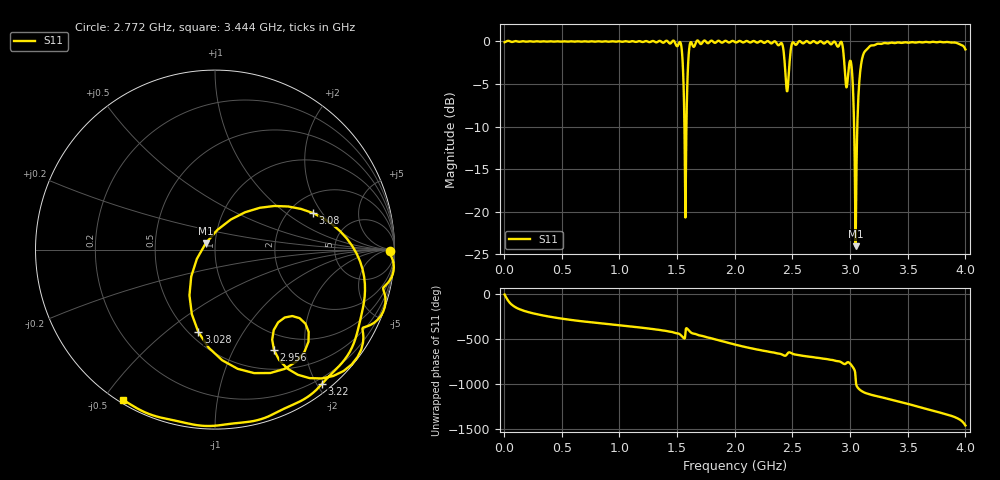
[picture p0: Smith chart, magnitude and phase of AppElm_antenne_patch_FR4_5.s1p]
! TOUCHSTONE file generated by CST MICROWAVE STUDIO
! Date and time: Tue Jun  7 21:11:33 2022
! Project name: AppElm_antenne_patch_FR4.cst
! Parameters = {L=45; W=58.5; e=0.035; h=1.6; lambda=0.190476; ls=120; w0=1.6; w1=0.533333; ws=114; y0=20; y1=23.81}
! Header version: 2018
! Port assignment regex: !\s*Touchstone port\s*([0-9]+)\s*=\s*(CST MWS port|CST DS port)\s*([0-9]+|Zmin|Zmax)\s*\(\"(.*)\"\)(\s*mode\s*([0-9]+))?.*
! Touchstone port assignment:
! Touchstone port 1 = CST MWS port 1 ("")
# GHz S MA R 50
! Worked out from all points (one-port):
!   1000 points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, 4 MHz to 4 GHz, reference 50 ohm
!   lowest |S11| = -24.1 dB at 3.048 GHz (marker M1), VSWR 1.13, Z = 45 + j3.26 ohm
!   |S11| at or under -10 dB: 1.564 GHz to 1.581 GHz (17.29 MHz wide, 1.1 % of centre); 3.035 GHz to 3.063 GHz (27.88 MHz wide, 0.915 % of centre)
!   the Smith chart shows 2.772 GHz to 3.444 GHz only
!   S11 on the Smith chart (normalised r, x): 2.772 GHz: 64, -24; 2.956 GHz: 0.76, -1.47; 3.028 GHz: 0.56, -0.65; 3.08 GHz: 2.65, +1.64; 3.22 GHz: 0.11, -2.06; 3.444 GHz: 0.01, -0.56
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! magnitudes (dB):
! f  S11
! 4 MHz  -0.1
! 504 MHz  0.0
! 1.004 GHz  0.0
! 1.504 GHz  -0.5
! 1.536 GHz  -0.5
! 1.56 GHz  -7.3
! 1.572 GHz  -20.7
! 1.588 GHz  -5.3
! 1.604 GHz  -1.0
! 1.62 GHz  -0.1
! 2.004 GHz  -0.1
! 2.4 GHz  -0.2
! 2.452 GHz  -5.9
! 2.504 GHz  -0.1
! 2.772 GHz  -0.2
! 2.92 GHz  0.0
! 2.956 GHz  -3.8
! 3.004 GHz  -2.3
! 3.016 GHz  -3.4
! 3.028 GHz  -6.6
! 3.048 GHz  -24.1
! 3.064 GHz  -9.3
! 3.08 GHz  -4.7
! 3.12 GHz  -1.3
! 3.22 GHz  -0.4
! 3.444 GHz  -0.2
! 3.504 GHz  -0.1
! 4 GHz  -0.9
